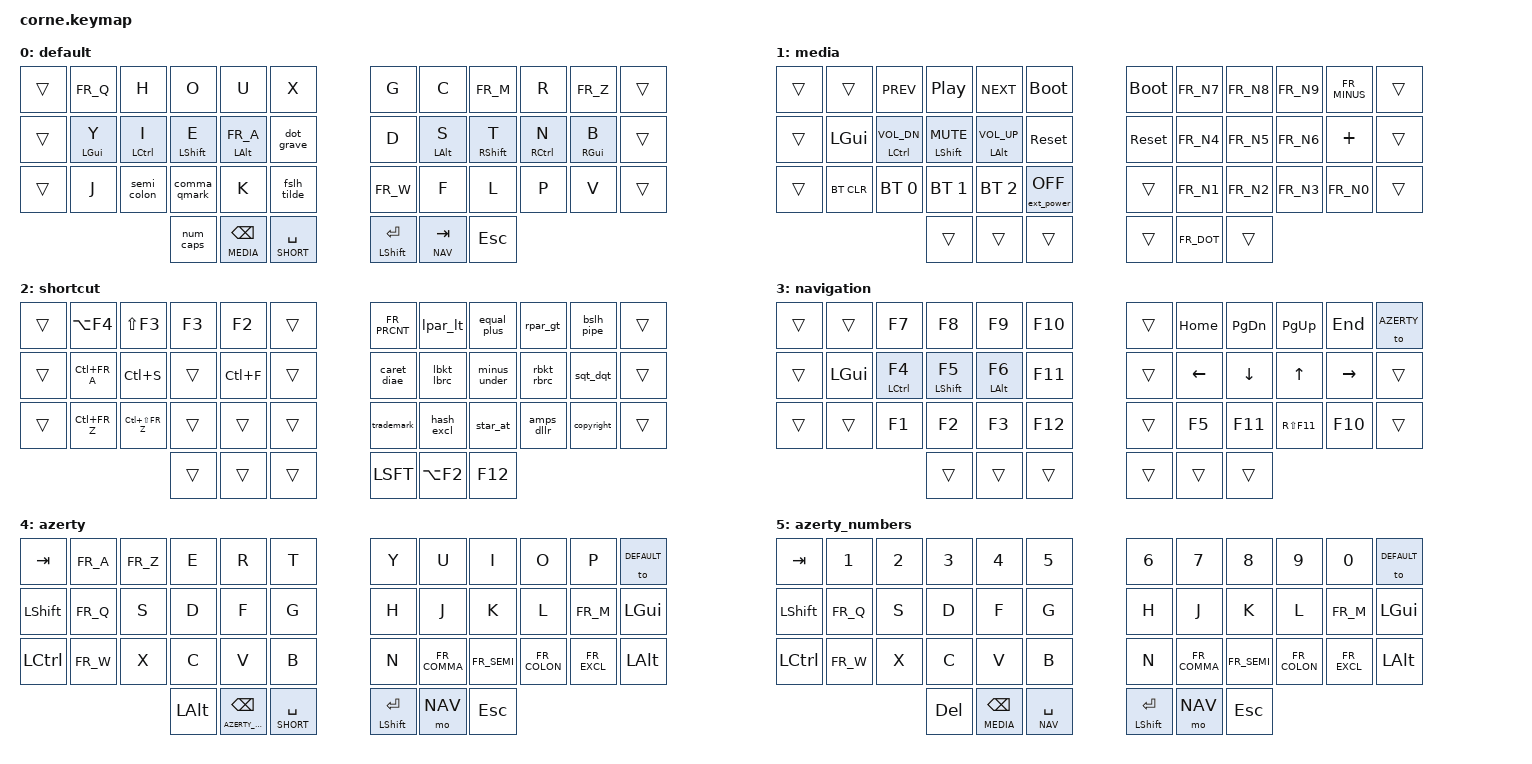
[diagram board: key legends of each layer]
/*
 * Copyright (c) 2020 The ZMK Contributors
 *
 * SPDX-License-Identifier: MIT
 */
#include "zmk-helpers/key-labels/42.h"

#include <behaviors.dtsi>
#include <dt-bindings/zmk/keys.h>
#include <dt-bindings/zmk/bt.h>
#include <dt-bindings/zmk/ext_power.h>

#include <behaviors/num_word.dtsi> // Requires auto-layer module.

#include "zmk-helpers/helper.h"

#include "keys_fr.h"

#define HOST_OS 1 // default to linux unicode input

&nice_view_spi {
    cs-gpios = <&pro_micro 9 GPIO_ACTIVE_HIGH>;
};

#define KEYS_L LT0 LT1 LT2 LT3 LT4 LM0 LM1 LM2 LM3 LM4 LB0 LB1 LB2 LB3 LB4 // left-hand keys
#define KEYS_R RT0 RT1 RT2 RT3 RT4 RM0 RM1 RM2 RM3 RM4 RB0 RB1 RB2 RB3 RB4 // right-hand keys
#define THUMBS LH2 LH1 LH0 RH0 RH1 RH2                                      // thumb keys

#define QUICK_TAP_MS 175
#define MAKE_HRM(NAME, HOLD, TAP, TRIGGER_POS)                                 \
  ZMK_HOLD_TAP(NAME, bindings = <HOLD>, <TAP>; flavor = "balanced";            \
               tapping-term-ms = <280>; quick-tap-ms = <QUICK_TAP_MS>;         \
               require-prior-idle-ms = <150>; hold-trigger-on-release;         \
               hold-trigger-key-positions = <TRIGGER_POS>;)

MAKE_HRM(hml, &kp, &kp, KEYS_R THUMBS)  // left-hand HRMs
MAKE_HRM(hmr, &kp, &kp, KEYS_L THUMBS)  // right-hand HRMs

#define MAKE_MSHFT(NAME, TAP, STAP) \
     ZMK_BEHAVIOR(NAME, mod_morph, \
               bindings = <&kp TAP>, <&kp STAP>; \
               mods = <(MOD_LSFT|MOD_RSFT)>; \
     )

#define DEFAULT    0
#define MEDIA      1 
#define SHORT      2
#define NAV        3
#define AZERTY     4
#define AZERTY_NUM 5

#include "combos.dtsi"

#define ___ &trans

MAKE_MSHFT(dot_grave, FR_DOT, FR_GRAVE)
MAKE_MSHFT(semi_colon, FR_SEMI, FR_COLON)
MAKE_MSHFT(comma_qmark, FR_COMMA, FR_QMARK)
MAKE_MSHFT(fslh_tilde, FR_FSLH, FR_TILDE)

ZMK_UNICODE_SINGLE(trademark, N2, N1, N2, N2)
ZMK_UNICODE_SINGLE(copyright, N0, N0, A, N9)

ZMK_BEHAVIOR(num_caps, mod_morph, 
        bindings = <&caps_word>, <&num_word MEDIA>; 
        mods = <(MOD_LSFT|MOD_RSFT)>; 
)

ZMK_LAYER(default,
     // ╭─────────────┬─────────────┬─────────────┬─────────────┬─────────────┬─────────────╮   ╭─────────────┬─────────────┬─────────────┬─────────────┬─────────────┬─────────────╮
              ___        &kp FR_Q        &kp H         &kp O        &kp U          &kp X             &kp G         &kp C         &kp FR_M      &kp R         &kp FR_Z       ___     
     // ├─────────────┼─────────────┼─────────────┼─────────────┼─────────────┼─────────────┤   ├─────────────┼─────────────┼─────────────┼─────────────┼─────────────┼─────────────┤
              ___       &hml LGUI Y   &hml LCTRL I  &hml LSHFT E &hml LALT FR_A  &dot_grave          &kp D      &hmr LALT S   &hmr RSHFT T  &hmr RCTRL N  &hmr RGUI B       ___     
     // ├─────────────┼─────────────┼─────────────┼─────────────┼─────────────┼─────────────┤   ├─────────────┼─────────────┼─────────────┼─────────────┼─────────────┼─────────────┤
              ___         &kp J       &semi_colon   &comma_qmark     &kp K      &fslh_tilde         &kp FR_W       &kp F         &kp L         &kp P          &kp V         ___     
     // ╰─────────────┴─────────────┴─────────────┼─────────────┼─────────────┼─────────────┤   ├─────────────┼─────────────┼─────────────┼─────────────┴─────────────┴─────────────╯
                                                     &num_caps   &lt MEDIA BSPC &lt SHORT SPACE   &mt LSHFT RET   &lt NAV TAB    &kp ESC 
     //                                           ╰─────────────┴─────────────┴─────────────╯   ╰─────────────┴─────────────┴─────────────╯
)

ZMK_LAYER(media,
     // ╭─────────────┬─────────────┬─────────────┬─────────────┬─────────────┬─────────────╮   ╭─────────────┬─────────────┬─────────────┬─────────────┬─────────────┬─────────────╮
              ___          ___         &kp C_PREV    &kp C_PP      &kp C_NEXT   &bootloader       &bootloader    &kp FR_N7     &kp FR_N8     &kp FR_N9    &kp FR_MINUS      ___
     // ├─────────────┼─────────────┼─────────────┼─────────────┼─────────────┼─────────────┤   ├─────────────┼─────────────┼─────────────┼─────────────┼─────────────┼─────────────┤
              ___  &kp LGUI &hml LCTRL C_VOL_DN &hml LSHFT C_MUTE &hml LALT C_VOL_UP &sys_reset    &sys_reset    &kp FR_N4     &kp FR_N5     &kp FR_N6     &kp PLUS         ___
     // ├─────────────┼─────────────┼─────────────┼─────────────┼─────────────┼─────────────┤   ├─────────────┼─────────────┼─────────────┼─────────────┼─────────────┼─────────────┤
             ___         &bt BT_CLR   &bt BT_SEL 0  &bt BT_SEL 1  &bt BT_SEL 2 &ext_power EP_OFF      ___        &kp FR_N1     &kp FR_N2     &kp FR_N3     &kp FR_N0        ___
     // ╰─────────────┴─────────────┴─────────────┼─────────────┼─────────────┼─────────────┤   ├─────────────┼─────────────┼─────────────┼─────────────┴─────────────┴─────────────╯
                                                        ___           ___           ___               ___        &kp FR_DOT      ___   
     //                                           ╰─────────────┴─────────────┴─────────────╯   ╰─────────────┴─────────────┴─────────────╯
)

MAKE_MSHFT(lpar_lt, FR_LPAR, FR_LT)
MAKE_MSHFT(equal_plus, EQUAL, PLUS)
MAKE_MSHFT(rpar_gt, FR_RPAR, FR_GT)
MAKE_MSHFT(bslh_pipe, FR_BSLH, FR_PIPE)

MAKE_MSHFT(caret_diae, FR_CARET, FR_UMLAUT)
MAKE_MSHFT(lbkt_lbrc, FR_LBKT, FR_LBRC)
MAKE_MSHFT(minus_under, FR_MINUS, FR_UNDER)
MAKE_MSHFT(rbkt_rbrc, FR_RBKT, FR_RBRC)
MAKE_MSHFT(sqt_dqt, FR_SQT, FR_DQT)

MAKE_MSHFT(hash_excl, FR_HASH, FR_EXCL)
MAKE_MSHFT(star_at, FR_STAR, FR_AT)
MAKE_MSHFT(amps_dllr, FR_AMPS, FR_DLLR)

  ZMK_LAYER(shortcut,
     // ╭─────────────┬─────────────┬─────────────┬─────────────┬─────────────┬─────────────╮   ╭─────────────┬─────────────┬─────────────┬─────────────┬─────────────┬─────────────╮
              ___        &kp LA(F4)    &kp LS(F3)     &kp F3          &kp F2        ___          &kp FR_PRCNT     &lpar_lt    &equal_plus     &rpar_gt    &bslh_pipe       ___
     // ├─────────────┼─────────────┼─────────────┼─────────────┼─────────────┼─────────────┤   ├─────────────┼─────────────┼─────────────┼─────────────┼─────────────┼─────────────┤
              ___       &kp LC(FR_A)   &kp LC(S)        ___         &kp LC(F)       ___           &caret_diae    &lbkt_lbrc  &minus_under    &rbkt_rbrc     &sqt_dqt       ___
     // ├─────────────┼─────────────┼─────────────┼─────────────┼─────────────┼─────────────┤   ├─────────────┼─────────────┼─────────────┼─────────────┼─────────────┼─────────────┤
              ___      &kp LC(FR_Z) &kp LC(LS(FR_Z))    ___           ___           ___            &trademark    &hash_excl     &star_at     &amps_dllr    &copyright      ___
     // ╰─────────────┴─────────────┴─────────────┼─────────────┼─────────────┼─────────────┤   ├─────────────┼─────────────┼─────────────┼─────────────┴─────────────┴─────────────╯
                                                        ___           ___           ___             &kp LSFT     &kp LA(F2)     &kp F12   
     //                                           ╰─────────────┴─────────────┴─────────────╯   ╰─────────────┴─────────────┴─────────────╯
)

 
 ZMK_LAYER(navigation,
     // ╭─────────────┬─────────────┬─────────────┬─────────────┬─────────────┬─────────────╮   ╭─────────────┬─────────────┬─────────────┬─────────────┬─────────────┬─────────────╮
              ___            ___          &kp F7       &kp F8        &kp F9       &kp F10             ___         &kp HOME     &kp PG_DN     &kp PG_UP      &kp END     &to AZERTY   
     // ├─────────────┼─────────────┼─────────────┼─────────────┼─────────────┼─────────────┤   ├─────────────┼─────────────┼─────────────┼─────────────┼─────────────┼─────────────┤
              ___         &kp LGUI   &hml LCTRL F4 &hml LSHFT F5  &hml LALT F6    &kp F11             ___         &kp LEFT     &kp DOWN       &kp UP       &kp RIGHT        ___   
     // ├─────────────┼─────────────┼─────────────┼─────────────┼─────────────┼─────────────┤   ├─────────────┼─────────────┼─────────────┼─────────────┼─────────────┼─────────────┤
              ___            ___          &kp F1       &kp F2        &kp F3       &kp F12             ___         &kp F5       &kp F11      &kp RS(F11)     &kp F10         ___   
     // ╰─────────────┴─────────────┴─────────────┼─────────────┼─────────────┼─────────────┤   ├─────────────┼─────────────┼─────────────┼─────────────┴─────────────┴─────────────╯
                                                        ___           ___           ___               ___           ___           ___   
     //                                           ╰─────────────┴─────────────┴─────────────╯   ╰─────────────┴─────────────┴─────────────╯
)

ZMK_LAYER(azerty,
     // ╭─────────────┬─────────────┬─────────────┬─────────────┬─────────────┬─────────────╮   ╭─────────────┬─────────────┬─────────────┬─────────────┬─────────────┬─────────────╮
            &kp TAB      &kp FR_A      &kp FR_Z        &kp E         &kp R         &kp T             &kp Y         &kp U         &kp I         &kp O         &kp P      &to DEFAULT
     // ├─────────────┼─────────────┼─────────────┼─────────────┼─────────────┼─────────────┤   ├─────────────┼─────────────┼─────────────┼─────────────┼─────────────┼─────────────┤
           &kp LSHFT     &kp FR_Q        &kp S         &kp D         &kp F         &kp G             &kp H         &kp J         &kp K         &kp L       &kp FR_M      &kp LGUI
     // ├─────────────┼─────────────┼─────────────┼─────────────┼─────────────┼─────────────┤   ├─────────────┼─────────────┼─────────────┼─────────────┼─────────────┼─────────────┤
           &kp LCTRL      &kp FR_W       &kp X         &kp C         &kp V         &kp B             &kp N     &kp FR_COMMA   &kp FR_SEMI  &kp FR_COLON   &kp FR_EXCL    &kp LALT
     // ╰─────────────┴─────────────┴─────────────┼─────────────┼─────────────┼─────────────┤   ├─────────────┼─────────────┼─────────────┼─────────────┴─────────────┴─────────────╯
                                                      &kp LALT   &lt AZERTY_NUM BSPC &lt SHORT SPACE &mt LSHFT RET &mo NAV      &kp ESC 
     //                                           ╰─────────────┴─────────────┴─────────────╯   ╰─────────────┴─────────────┴─────────────╯
)

ZMK_LAYER(azerty_numbers,
     // ╭─────────────┬─────────────┬─────────────┬─────────────┬─────────────┬─────────────╮   ╭─────────────┬─────────────┬─────────────┬─────────────┬─────────────┬─────────────╮
            &kp TAB        &kp N1        &kp N2       &kp N3        &kp N4        &kp N5             &kp N6         &kp N7       &kp N8         &kp N9       &kp N0      &to DEFAULT
     // ├─────────────┼─────────────┼─────────────┼─────────────┼─────────────┼─────────────┤   ├─────────────┼─────────────┼─────────────┼─────────────┼─────────────┼─────────────┤
           &kp LSHFT     &kp FR_Q        &kp S         &kp D         &kp F         &kp G             &kp H         &kp J         &kp K         &kp L       &kp FR_M      &kp LGUI
     // ├─────────────┼─────────────┼─────────────┼─────────────┼─────────────┼─────────────┤   ├─────────────┼─────────────┼─────────────┼─────────────┼─────────────┼─────────────┤
           &kp LCTRL      &kp FR_W       &kp X         &kp C         &kp V         &kp B             &kp N     &kp FR_COMMA   &kp FR_SEMI  &kp FR_COLON   &kp FR_EXCL    &kp LALT
     // ╰─────────────┴─────────────┴─────────────┼─────────────┼─────────────┼─────────────┤   ├─────────────┼─────────────┼─────────────┼─────────────┴─────────────┴─────────────╯
                                                      &kp DEL   &lt MEDIA BSPC &lt NAV SPACE   &mt LSHFT RET    &mo NAV       &kp ESC 
     //                                           ╰─────────────┴─────────────┴─────────────╯   ╰─────────────┴─────────────┴─────────────╯
)
